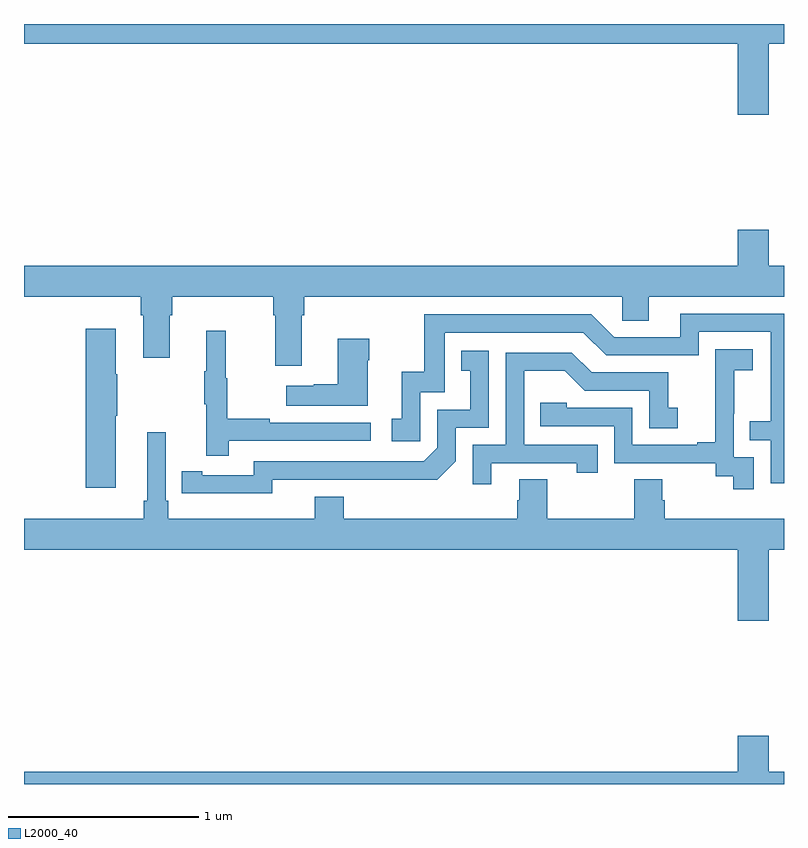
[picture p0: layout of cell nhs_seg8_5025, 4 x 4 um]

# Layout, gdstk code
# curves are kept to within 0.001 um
import gdstk
lib = gdstk.Library(unit=1e-6, precision=1e-09)
def P(c, l, *ps):  # polygons
    for p in ps: c.add(gdstk.Polygon(p, *l))
L2000_40 = (2000, 40)

nhs_seg8_5025 = lib.new_cell('nhs_seg8_5025')
P(nhs_seg8_5025, L2000_40, [(416.92,1153.796),(417,1153.796),(417,1153.9),(413,1153.9),(413,1153.796),(416.756,1153.796),(416.756,1153.422),(416.92,1153.422)],
  [(414.463,1152.368),(414.476,1152.368),(414.476,1152.464),(416.148,1152.464),(416.148,1152.337),(416.287,1152.337),(416.287,1152.464),(417,1152.464),(417,1152.628),(416.92,1152.628),(416.92,1152.817),(416.756,1152.817),(416.756,1152.628),(413,1152.628),(413,1152.464),(413.615,1152.464),(413.615,1152.368),(413.627,1152.368),(413.627,1152.144),(413.767,1152.144),(413.767,1152.368),(413.78,1152.368),(413.78,1152.464),(414.311,1152.464),(414.311,1152.368),(414.323,1152.368),(414.323,1152.102),(414.463,1152.102)],
  [(417,1152.375),(416.453,1152.375),(416.453,1152.252),(416.106,1152.252),(415.986,1152.372),(415.107,1152.372),(415.107,1152.07),(414.989,1152.07),(414.989,1151.823),(414.936,1151.823),(414.936,1151.703),(415.086,1151.703),(415.086,1151.961),(415.215,1151.961),(415.215,1152.276),(415.944,1152.276),(416.064,1152.156),(416.55,1152.156),(416.55,1152.279),(416.931,1152.279),(416.931,1151.81),(416.821,1151.81),(416.821,1151.709),(416.931,1151.709),(416.931,1151.484),(417,1151.484)],
  [(413.482,1151.839),(413.49,1151.839),(413.49,1152.056),(413.482,1152.056),(413.482,1152.295),(413.324,1152.295),(413.324,1151.46),(413.482,1151.46)],
  [(414.077,1151.706),(414.826,1151.706),(414.826,1151.802),(414.293,1151.802),(414.293,1151.822),(414.07,1151.822),(414.07,1152.036),(414.062,1152.036),(414.062,1152.286),(413.96,1152.286),(413.96,1152.073),(413.949,1152.073),(413.949,1151.899),(413.96,1151.899),(413.96,1151.628),(414.077,1151.628)],
  [(414.808,1152.131),(414.816,1152.131),(414.816,1152.244),(414.65,1152.244),(414.65,1152.005),(414.524,1152.005),(414.524,1151.995),(414.381,1151.995),(414.381,1151.891),(414.808,1151.891)],
  [(416.841,1151.619),(416.736,1151.619),(416.736,1151.849),(416.738,1151.849),(416.738,1152.077),(416.836,1152.077),(416.836,1152.187),(416.638,1152.187),(416.638,1151.981),(416.639,1151.981),(416.639,1151.698),(416.543,1151.698),(416.543,1151.685),(416.202,1151.685),(416.202,1151.88),(415.857,1151.88),(415.857,1151.907),(415.717,1151.907),(415.717,1151.784),(416.106,1151.784),(416.106,1151.589),(416.64,1151.589),(416.64,1151.521),(416.733,1151.521),(416.733,1151.451),(416.841,1151.451)],
  [(414.306,1151.502),(415.174,1151.501),(415.272,1151.598),(415.272,1151.775),(415.446,1151.775),(415.446,1152.181),(415.3,1152.181),(415.3,1152.075),(415.349,1152.075),(415.349,1151.871),(415.176,1151.871),(415.176,1151.67),(415.104,1151.598),(414.21,1151.598),(414.21,1151.526),(413.938,1151.526),(413.938,1151.546),(413.83,1151.546),(413.83,1151.43),(414.306,1151.429)],
  [(415.459,1151.589),(415.91,1151.589),(415.91,1151.538),(416.021,1151.538),(416.021,1151.685),(415.632,1151.685),(415.632,1152.074),(415.846,1152.074),(415.95,1151.97),(416.292,1151.97),(416.292,1151.772),(416.44,1151.772),(416.44,1151.881),(416.391,1151.881),(416.391,1152.066),(415.987,1152.066),(415.882,1152.171),(415.536,1152.171),(415.536,1151.685),(415.362,1151.685),(415.362,1151.478),(415.459,1151.478)],
  [(416.92,1151.132),(417,1151.132),(417,1151.296),(416.372,1151.296),(416.372,1151.394),(416.359,1151.394),(416.359,1151.504),(416.212,1151.504),(416.212,1151.296),(415.755,1151.296),(415.755,1151.504),(415.607,1151.504),(415.607,1151.394),(415.595,1151.394),(415.595,1151.296),(414.683,1151.296),(414.683,1151.413),(414.53,1151.413),(414.53,1151.296),(413.759,1151.296),(413.759,1151.392),(413.745,1151.392),(413.745,1151.752),(413.648,1151.752),(413.648,1151.392),(413.629,1151.392),(413.629,1151.296),(413,1151.296),(413,1151.132),(416.756,1151.132),(416.756,1150.758),(416.92,1150.758)],
  [(417,1149.964),(416.92,1149.964),(416.92,1150.153),(416.756,1150.153),(416.756,1149.964),(413,1149.964),(413,1149.9),(417,1149.9)])

lib.write_gds('nhs_seg8_5025.gds')
